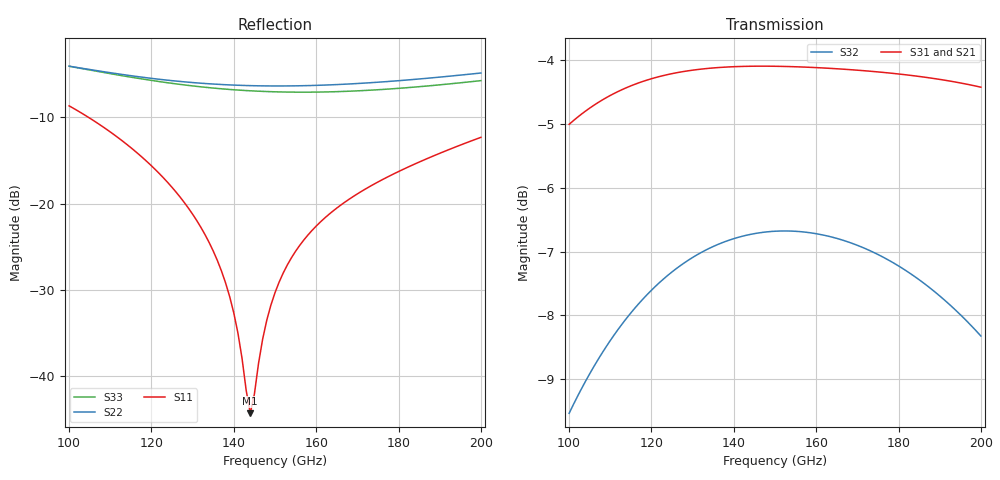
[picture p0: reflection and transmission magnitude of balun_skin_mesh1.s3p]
! Created with skrf 2.1.0 (http://scikit-rf.org).
# GHz S DB R 50.0
! Port[1] = P1
! Port[2] = P2
! Port[3] = P3
!freq dBS11 angS11 dBS12 angS12 dBS13 angS13
! dBS21 angS21 dBS22 angS22 dBS23 angS23
! dBS31 angS31 dBS32 angS32 dBS33 angS33
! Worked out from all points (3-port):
!   101 points, 100 GHz to 200 GHz, reference 50 ohm
!   strongest paths, dB at 100 GHz, 125 GHz, 150 GHz, 175 GHz, 200 GHz:
!     S31: -5.0, -4.2, -4.1, -4.2, -4.4
!     S21: -4.7, -4.1, -4.1, -4.3, -4.8
!     S32: -9.5, -7.3, -6.7, -7.0, -8.3
!   lowest |S11| = -44.3 dB at 144 GHz (marker M1), VSWR 1.01, Z = 49.4 + j0.142 ohm
!   |S11| at or under -10 dB: 104.7 GHz to end of sweep
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100  -8.65 128.4  -4.72 -11.6  -5.00 164.8
     -4.72 -11.6  -4.05 59.5  -9.53 90.8
     -5.00 164.8  -9.53 90.8  -4.06 49.4
119  -15.16 103.8  -4.14 -40.6  -4.31 134.0
     -4.14 -40.6  -5.40 42.7  -7.67 62.3
     -4.31 134.0  -7.67 62.3  -5.63 29.8
132  -22.74 93.1  -4.04 -58.6  -4.14 114.8
     -4.04 -58.6  -6.03 33.0  -7.02 44.4
     -4.14 114.8  -7.02 44.4  -6.45 18.8
139  -30.79 94.6  -4.04 -67.7  -4.10 105.1
     -4.04 -67.7  -6.22 28.0  -6.82 35.2
     -4.10 105.1  -6.82 35.2  -6.75 13.3
144  -44.31 166.4  -4.06 -74.1  -4.09 98.4
     -4.06 -74.1  -6.31 24.4  -6.73 28.8
     -4.09 98.4  -6.73 28.8  -6.91 9.5
147  -35.71 -125.1  -4.07 -77.8  -4.09 94.4
     -4.07 -77.8  -6.33 22.3  -6.70 25.1
     -4.09 94.4  -6.70 25.1  -6.97 7.3
150  -30.32 -116.7  -4.09 -81.5  -4.09 90.4
     -4.09 -81.5  -6.35 20.1  -6.68 21.4
     -4.09 90.4  -6.68 21.4  -7.02 5.0
156  -24.83 -114.7  -4.14 -88.8  -4.10 82.6
     -4.14 -88.8  -6.32 15.7  -6.69 14.1
     -4.10 82.6  -6.69 14.1  -7.07 0.6
165  -20.51 -116.8  -4.23 -99.6  -4.13 71.2
     -4.23 -99.6  -6.19 8.8  -6.79 3.3
     -4.13 71.2  -6.79 3.3  -7.01 -6.3
200  -12.30 -133.3  -4.84 -141.6  -4.42 26.9
     -4.84 -141.6  -4.84 -21.6  -8.32 -37.5
     -4.42 26.9  -8.32 -37.5  -5.73 -35.8
